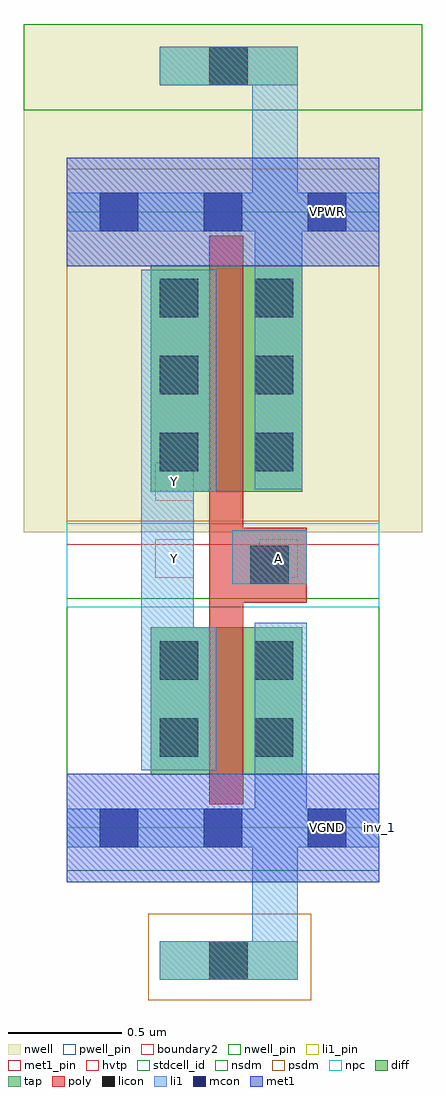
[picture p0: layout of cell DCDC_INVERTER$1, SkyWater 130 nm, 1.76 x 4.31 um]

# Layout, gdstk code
import gdstk
lib = gdstk.Library(unit=1e-6, precision=1e-09)
def R(c, l, rs):  # rectangles x0, y0, x1, y1
    for r in rs: c.add(gdstk.rectangle(r[:2], r[2:], *l))
def A(c, l, x, y, w, h, nx, ny, dx, dy):  # array of equal rectangles
    R(c, l, [(x+i*dx, y+j*dy, x+i*dx+w, y+j*dy+h) for i in range(nx) for j in range(ny)])
def P(c, l, *ps):  # polygons
    for p in ps: c.add(gdstk.Polygon(p, *l))
nwell_pin = (64, 16)
nwell = (64, 20)
diff = (65, 20)
tap = (65, 44)
poly = (66, 20)
licon = (66, 44)
li1_pin = (67, 16)
li1 = (67, 20)
mcon = (67, 44)
met1_pin = (68, 16)
met1 = (68, 20)
hvtp = (78, 44)
stdcell_id = (81, 4)
nsdm = (93, 44)
psdm = (94, 20)
npc = (95, 20)
pwell_pin = (122, 16)
boundary2 = (236, 0)

dcdc_inverter_1 = lib.new_cell('DCDC_INVERTER$1')
R(dcdc_inverter_1, nwell_pin, [(78.952,1.083,79.122,1.253), (78.952,1.083,79.122,1.253)])
R(dcdc_inverter_1, nwell, [(77.697,-0.247,79.457,1.998)])
R(dcdc_inverter_1, diff, [(78.257,-1.317,78.927,-0.667), (78.257,-0.067,78.927,0.933)])
R(dcdc_inverter_1, tap, [(78.297,-2.222,78.907,-2.052), (78.297,1.728,78.907,1.898)])
P(dcdc_inverter_1, poly, [(78.517,-1.447),(78.517,1.063),(78.667,1.063),(78.667,-0.227),(78.947,-0.227),(78.947,-0.557),(78.667,-0.557),(78.667,-1.447)])
A(dcdc_inverter_1, licon, 78.297, 0.023, 0.17, 0.17, 1, 3, 0, 0.34)
A(dcdc_inverter_1, licon, 78.717, 0.023, 0.17, 0.17, 1, 3, 0, 0.34)
R(dcdc_inverter_1, licon, [(78.517,-2.222,78.687,-2.052), (78.297,-1.237,78.467,-1.067), (78.717,-1.237,78.887,-1.067), (78.297,-0.897,78.467,-0.727), (78.717,-0.897,78.887,-0.727), (78.697,-0.477,78.867,-0.307), (78.517,1.728,78.687,1.898)])
R(dcdc_inverter_1, li1_pin, [(78.277,-0.447,78.447,-0.277), (78.737,-0.447,78.907,-0.277), (78.277,-0.107,78.447,0.063)])
R(dcdc_inverter_1, li1, [(78.297,-2.222,78.907,-2.052), (78.707,-2.222,78.907,-1.583), (77.887,-1.637,79.267,-1.467), (78.717,-1.547,78.947,-0.647), (78.617,-0.477,78.947,-0.237), (78.717,-0.057,78.927,1.123), (77.887,1.083,79.267,1.253), (78.707,1.143,78.907,1.788), (78.297,1.728,78.907,1.898)])
P(dcdc_inverter_1, li1, [(78.217,-1.297),(78.217,0.913),(78.547,0.913),(78.547,-0.067),(78.447,-0.067),(78.447,-0.667),(78.547,-0.667),(78.547,-1.297)])
A(dcdc_inverter_1, mcon, 78.032, -1.637, 0.17, 0.17, 3, 2, 0.46, 2.72)
R(dcdc_inverter_1, met1_pin, [(78.952,-1.637,79.122,-1.467), (78.952,-1.637,79.122,-1.467), (78.952,1.083,79.122,1.253), (78.952,1.083,79.122,1.253)])
R(dcdc_inverter_1, hvtp, [(77.887,-0.302,79.267,1.168)])
R(dcdc_inverter_1, stdcell_id, [(77.887,-1.552,79.267,1.168)])
R(dcdc_inverter_1, nsdm, [(77.887,-1.742,79.267,-0.537), (77.697,1.618,79.457,1.998)])
R(dcdc_inverter_1, psdm, [(78.247,-2.312,78.967,-1.932), (77.887,-0.197,79.267,1.358)])
R(dcdc_inverter_1, npc, [(77.887,-0.577,79.267,-0.207)])
R(dcdc_inverter_1, pwell_pin, [(78.952,-1.637,79.122,-1.467), (78.952,-1.637,79.122,-1.467)])
R(dcdc_inverter_1, boundary2, [(77.887,-1.552,79.267,1.168)])
dcdc_inverter_1.add(gdstk.FlexPath([(79.267,-1.552),(77.887,-1.552)], 0.48, ends="flush", simple_path=True, layer=68, datatype=20))  # met1
dcdc_inverter_1.add(gdstk.FlexPath([(79.267,1.168),(77.887,1.168)], 0.48, ends="flush", simple_path=True, layer=68, datatype=20))  # met1
dcdc_inverter_1.add(gdstk.Label('VPWR', (79.037,1.168), layer=68, texttype=5))
dcdc_inverter_1.add(gdstk.Label('VGND', (79.037,-1.552), layer=68, texttype=5))
dcdc_inverter_1.add(gdstk.Label('VNB', (79.037,-1.552), layer=64, texttype=59))
dcdc_inverter_1.add(gdstk.Label('VPB', (79.037,1.168), layer=64, texttype=5))
dcdc_inverter_1.add(gdstk.Label('inv_1', (79.267,-1.552), layer=83, texttype=44))
dcdc_inverter_1.add(gdstk.Label('A', (78.822,-0.362), layer=67, texttype=5))
dcdc_inverter_1.add(gdstk.Label('Y', (78.362,-0.362), layer=67, texttype=5))
dcdc_inverter_1.add(gdstk.Label('Y', (78.362,-0.022), layer=67, texttype=5))

lib.write_gds('DCDC_INVERTER_1.gds')
